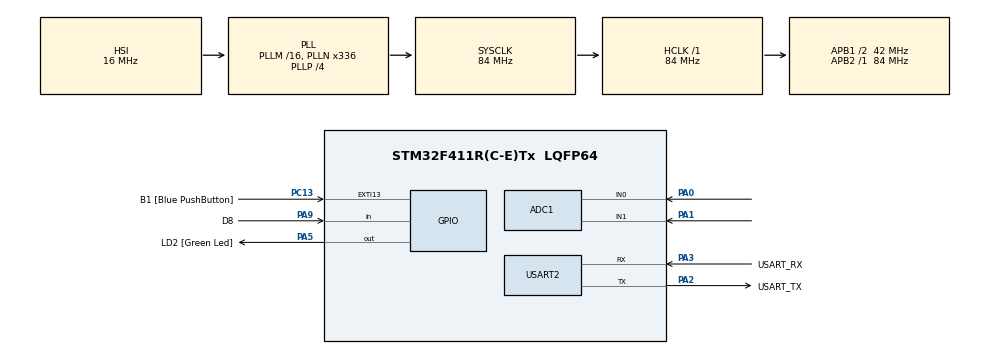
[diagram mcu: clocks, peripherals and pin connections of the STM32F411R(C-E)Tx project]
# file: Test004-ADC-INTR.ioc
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ADC1.Channel-0\#ChannelRegularConversion=ADC_CHANNEL_0
ADC1.Channel-1\#ChannelRegularConversion=ADC_CHANNEL_1
ADC1.ContinuousConvMode=DISABLE
ADC1.DiscontinuousConvMode=ENABLE
ADC1.EnableAnalogWatchDog=false
ADC1.NbrOfConversion=2
ADC1.NbrOfConversionFlag=1
ADC1.Rank-0\#ChannelRegularConversion=1
ADC1.Rank-1\#ChannelRegularConversion=2
ADC1.SamplingTime-0\#ChannelRegularConversion=ADC_SAMPLETIME_3CYCLES
ADC1.SamplingTime-1\#ChannelRegularConversion=ADC_SAMPLETIME_3CYCLES
ADC1.ScanConvMode=ENABLE
ADC1.master=1
Mcu.Family=STM32F4
Mcu.Name=STM32F411R(C-E)Tx
Mcu.Package=LQFP64
NVIC.ADC_IRQn=true\:0\:0\:false\:false\:true\:true\:true\:true
NVIC.PriorityGroup=NVIC_PRIORITYGROUP_0
NVIC.TIM3_IRQn=true\:0\:0\:false\:false\:true\:true\:true\:true
PA0-WKUP.Signal=ADCx_IN0
PA1.Signal=ADCx_IN1
PA13.GPIO_Label=TMS
PA13.Mode=Serial_Wire
PA13.Signal=SYS_JTMS-SWDIO
PA14.GPIO_Label=TCK
PA14.Mode=Serial_Wire
PA14.Signal=SYS_JTCK-SWCLK
PA2.GPIO_Label=USART_TX
PA2.Mode=Asynchronous
PA2.Signal=USART2_TX
PA3.GPIO_Label=USART_RX
PA3.Mode=Asynchronous
PA3.Signal=USART2_RX
PA5.GPIO_Label=LD2 [Green Led]
PA5.Signal=GPIO_Output
PA9.GPIO_Label=D8
PA9.GPIO_PuPd=GPIO_PULLUP
PA9.Signal=GPIO_Input
PB3.GPIO_Label=SWO
PB3.Signal=SYS_JTDO-SWO
PC13-ANTI_TAMP.GPIO_Label=B1 [Blue PushButton]
PC13-ANTI_TAMP.GPIO_ModeDefaultEXTI=GPIO_MODE_IT_FALLING
PC13-ANTI_TAMP.Signal=GPXTI13
PC14-OSC32_IN.Mode=LSE-External-Oscillator
PC14-OSC32_IN.Signal=RCC_OSC32_IN
PC15-OSC32_OUT.Mode=LSE-External-Oscillator
PC15-OSC32_OUT.Signal=RCC_OSC32_OUT
PH0\ -\ OSC_IN.Mode=HSE-External-Clock-Source
PH0\ -\ OSC_IN.Signal=RCC_OSC_IN
PH1\ -\ OSC_OUT.Mode=HSE-External-Clock-Source
PH1\ -\ OSC_OUT.Signal=RCC_OSC_OUT
ProjectManager.HeapSize=0x200
ProjectManager.StackSize=0x400
ProjectManager.TargetToolchain=STM32CubeIDE
RCC.48MHZClocksFreq_Value=84000000
RCC.AHBFreq_Value=84000000
RCC.APB1CLKDivider=RCC_HCLK_DIV2
RCC.APB1Freq_Value=42000000
RCC.APB1TimFreq_Value=84000000
RCC.APB2Freq_Value=84000000
RCC.APB2TimFreq_Value=84000000
RCC.CortexFreq_Value=84000000
RCC.FLatency-AdvancedSettings=FLASH_LATENCY_2
RCC.HCLKFreq_Value=84000000
RCC.HSE_VALUE=8000000
RCC.HSI_VALUE=16000000
RCC.PLLN=336
RCC.PLLP=RCC_PLLP_DIV4
RCC.SYSCLKFreq_VALUE=84000000
RCC.SYSCLKSource=RCC_SYSCLKSOURCE_PLLCLK
RCC.VCOOutputFreq_Value=336000000
SH.ADCx_IN0.0=ADC1_IN0,IN0
SH.ADCx_IN1.0=ADC1_IN1,IN1
TIM3.Period=8400-1
TIM3.Prescaler=1000-1
USART2.VirtualMode=VM_ASYNC
VP_TIM3_VS_ClockSourceINT.Mode=Internal
board=NUCLEO-F411RE

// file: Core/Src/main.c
/* USER CODE BEGIN Header */
/**
  ******************************************************************************
  * @file           : main.c
  * @brief          : Main program body
  ******************************************************************************
  * @attention
  *
  * Copyright (c) 2024 STMicroelectronics.
  * All rights reserved.
  *
  * This software is licensed under terms that can be found in the LICENSE file
  * in the root directory of this software component.
  * If no LICENSE file comes with this software, it is provided AS-IS.
  *
  ******************************************************************************
  */
/* USER CODE END Header */
#include "main.h"

ADC_HandleTypeDef hadc1;

TIM_HandleTypeDef htim3;

UART_HandleTypeDef huart2;

void SystemClock_Config(void);
static void MX_GPIO_Init(void);
static void MX_USART2_UART_Init(void);
static void MX_ADC1_Init(void);
static void MX_TIM3_Init(void);

/* USER CODE BEGIN 0 */
int val1, val2, ch = 0;
void HAL_ADC_ConvCpltCallback(ADC_HandleTypeDef *hadc)	//Sampling complete, **Channel management required
 {
    if(ch == 0)
      {
	val1 = HAL_ADC_GetValue(&hadc1);
	ch++;
      }
    else
      {
	val2 = HAL_ADC_GetValue(&hadc1);
	ch=0;
      }
    printf("Current ADC Value : (%d, %d)\r\n", val1, val2);
    HAL_ADC_Start_IT(&hadc1);

 }

void HAL_TIM_PeriodElapsedCallback(TIM_HandleTypeDef *htim)
{
    HAL_ADC_Start_IT(&hadc1);

    /* switch(&hadc)
     {
       case hadc1:
 	break;

       default: break;
     }*/
}

/* USER CODE END 0 */

int main(void)
{

  /* MCU Configuration--------------------------------------------------------*/

  /* Reset of all peripherals, Initializes the Flash interface and the Systick. */
  HAL_Init();

  /* Configure the system clock */
  SystemClock_Config();

  /* Initialize all configured peripherals */
  MX_GPIO_Init();
  MX_USART2_UART_Init();
  MX_ADC1_Init();
  MX_TIM3_Init();
  /* USER CODE BEGIN 2 */

  ProgramStart("ADC Interrupt");
  HAL_TIM_Base_Start_IT(&htim3);	//Timer InterrputS
  HAL_ADC_Start_IT(&hadc1);		//ADC Interrupt

  /* USER CODE END 2 */

  /* Infinite loop */
  while (1)
  {

  }
}

void SystemClock_Config(void)
{
  RCC_OscInitTypeDef RCC_OscInitStruct = {0};
  RCC_ClkInitTypeDef RCC_ClkInitStruct = {0};

  /** Configure the main internal regulator output voltage
  */
  __HAL_RCC_PWR_CLK_ENABLE();
  __HAL_PWR_VOLTAGESCALING_CONFIG(PWR_REGULATOR_VOLTAGE_SCALE1);

  /** Initializes the RCC Oscillators according to the specified parameters
  * in the RCC_OscInitTypeDef structure.
  */
  RCC_OscInitStruct.OscillatorType = RCC_OSCILLATORTYPE_HSI;
  RCC_OscInitStruct.HSIState = RCC_HSI_ON;
  RCC_OscInitStruct.HSICalibrationValue = RCC_HSICALIBRATION_DEFAULT;
  RCC_OscInitStruct.PLL.PLLState = RCC_PLL_ON;
  RCC_OscInitStruct.PLL.PLLSource = RCC_PLLSOURCE_HSI;
  RCC_OscInitStruct.PLL.PLLM = 16;
  RCC_OscInitStruct.PLL.PLLN = 336;
  RCC_OscInitStruct.PLL.PLLP = RCC_PLLP_DIV4;
  RCC_OscInitStruct.PLL.PLLQ = 4;
  if (HAL_RCC_OscConfig(&RCC_OscInitStruct) != HAL_OK)
  {
    Error_Handler();
  }

  /** Initializes the CPU, AHB and APB buses clocks
  */
  RCC_ClkInitStruct.ClockType = RCC_CLOCKTYPE_HCLK|RCC_CLOCKTYPE_SYSCLK
                              |RCC_CLOCKTYPE_PCLK1|RCC_CLOCKTYPE_PCLK2;
  RCC_ClkInitStruct.SYSCLKSource = RCC_SYSCLKSOURCE_PLLCLK;
  RCC_ClkInitStruct.AHBCLKDivider = RCC_SYSCLK_DIV1;
  RCC_ClkInitStruct.APB1CLKDivider = RCC_HCLK_DIV2;
  RCC_ClkInitStruct.APB2CLKDivider = RCC_HCLK_DIV1;

  if (HAL_RCC_ClockConfig(&RCC_ClkInitStruct, FLASH_LATENCY_2) != HAL_OK)
  {
    Error_Handler();
  }
}

static void MX_ADC1_Init(void)
{

  ADC_ChannelConfTypeDef sConfig = {0};

  /** Configure the global features of the ADC (Clock, Resolution, Data Alignment and number of conversion)
  */
  hadc1.Instance = ADC1;
  hadc1.Init.ClockPrescaler = ADC_CLOCK_SYNC_PCLK_DIV4;
  hadc1.Init.Resolution = ADC_RESOLUTION_12B;
  hadc1.Init.ScanConvMode = ENABLE;
  hadc1.Init.ContinuousConvMode = DISABLE;
  hadc1.Init.DiscontinuousConvMode = ENABLE;
  hadc1.Init.NbrOfDiscConversion = 1;
  hadc1.Init.ExternalTrigConvEdge = ADC_EXTERNALTRIGCONVEDGE_NONE;
  hadc1.Init.ExternalTrigConv = ADC_SOFTWARE_START;
  hadc1.Init.DataAlign = ADC_DATAALIGN_RIGHT;
  hadc1.Init.NbrOfConversion = 2;
  hadc1.Init.DMAContinuousRequests = DISABLE;
  hadc1.Init.EOCSelection = ADC_EOC_SINGLE_CONV;
  if (HAL_ADC_Init(&hadc1) != HAL_OK)
  {
    Error_Handler();
  }

  /** Configure for the selected ADC regular channel its corresponding rank in the sequencer and its sample time.
  */
  sConfig.Channel = ADC_CHANNEL_0;
  sConfig.Rank = 1;
  sConfig.SamplingTime = ADC_SAMPLETIME_3CYCLES;
  if (HAL_ADC_ConfigChannel(&hadc1, &sConfig) != HAL_OK)
  {
    Error_Handler();
  }

  /** Configure for the selected ADC regular channel its corresponding rank in the sequencer and its sample time.
  */
  sConfig.Channel = ADC_CHANNEL_1;
  sConfig.Rank = 2;
  if (HAL_ADC_ConfigChannel(&hadc1, &sConfig) != HAL_OK)
  {
    Error_Handler();
  }

}

static void MX_TIM3_Init(void)
{

  TIM_ClockConfigTypeDef sClockSourceConfig = {0};
  TIM_MasterConfigTypeDef sMasterConfig = {0};

  htim3.Instance = TIM3;
  htim3.Init.Prescaler = 1000-1;
  htim3.Init.CounterMode = TIM_COUNTERMODE_UP;
  htim3.Init.Period = 8400-1;
  htim3.Init.ClockDivision = TIM_CLOCKDIVISION_DIV1;
  htim3.Init.AutoReloadPreload = TIM_AUTORELOAD_PRELOAD_DISABLE;
  if (HAL_TIM_Base_Init(&htim3) != HAL_OK)
  {
    Error_Handler();
  }
  sClockSourceConfig.ClockSource = TIM_CLOCKSOURCE_INTERNAL;
  if (HAL_TIM_ConfigClockSource(&htim3, &sClockSourceConfig) != HAL_OK)
  {
    Error_Handler();
  }
  sMasterConfig.MasterOutputTrigger = TIM_TRGO_RESET;
  sMasterConfig.MasterSlaveMode = TIM_MASTERSLAVEMODE_DISABLE;
  if (HAL_TIMEx_MasterConfigSynchronization(&htim3, &sMasterConfig) != HAL_OK)
  {
    Error_Handler();
  }

}

static void MX_USART2_UART_Init(void)
{

  huart2.Instance = USART2;
  huart2.Init.BaudRate = 115200;
  huart2.Init.WordLength = UART_WORDLENGTH_8B;
  huart2.Init.StopBits = UART_STOPBITS_1;
  huart2.Init.Parity = UART_PARITY_NONE;
  huart2.Init.Mode = UART_MODE_TX_RX;
  huart2.Init.HwFlowCtl = UART_HWCONTROL_NONE;
  huart2.Init.OverSampling = UART_OVERSAMPLING_16;
  if (HAL_UART_Init(&huart2) != HAL_OK)
  {
    Error_Handler();
  }

}

static void MX_GPIO_Init(void)
{
  GPIO_InitTypeDef GPIO_InitStruct = {0};

  /* GPIO Ports Clock Enable */
  __HAL_RCC_GPIOC_CLK_ENABLE();
  __HAL_RCC_GPIOH_CLK_ENABLE();
  __HAL_RCC_GPIOA_CLK_ENABLE();
  __HAL_RCC_GPIOB_CLK_ENABLE();

  /*Configure GPIO pin Output Level */
  HAL_GPIO_WritePin(LD2_GPIO_Port, LD2_Pin, GPIO_PIN_RESET);

  /*Configure GPIO pin : B1_Pin */
  GPIO_InitStruct.Pin = B1_Pin;
  GPIO_InitStruct.Mode = GPIO_MODE_IT_FALLING;
  GPIO_InitStruct.Pull = GPIO_NOPULL;
  HAL_GPIO_Init(B1_GPIO_Port, &GPIO_InitStruct);

  /*Configure GPIO pin : LD2_Pin */
  GPIO_InitStruct.Pin = LD2_Pin;
  GPIO_InitStruct.Mode = GPIO_MODE_OUTPUT_PP;
  GPIO_InitStruct.Pull = GPIO_NOPULL;
  GPIO_InitStruct.Speed = GPIO_SPEED_FREQ_LOW;
  HAL_GPIO_Init(LD2_GPIO_Port, &GPIO_InitStruct);

  /*Configure GPIO pin : D8_Pin */
  GPIO_InitStruct.Pin = D8_Pin;
  GPIO_InitStruct.Mode = GPIO_MODE_INPUT;
  GPIO_InitStruct.Pull = GPIO_PULLUP;
  HAL_GPIO_Init(D8_GPIO_Port, &GPIO_InitStruct);

}

void Error_Handler(void)
{
  __disable_irq();
  while (1)
  {
  }
}
